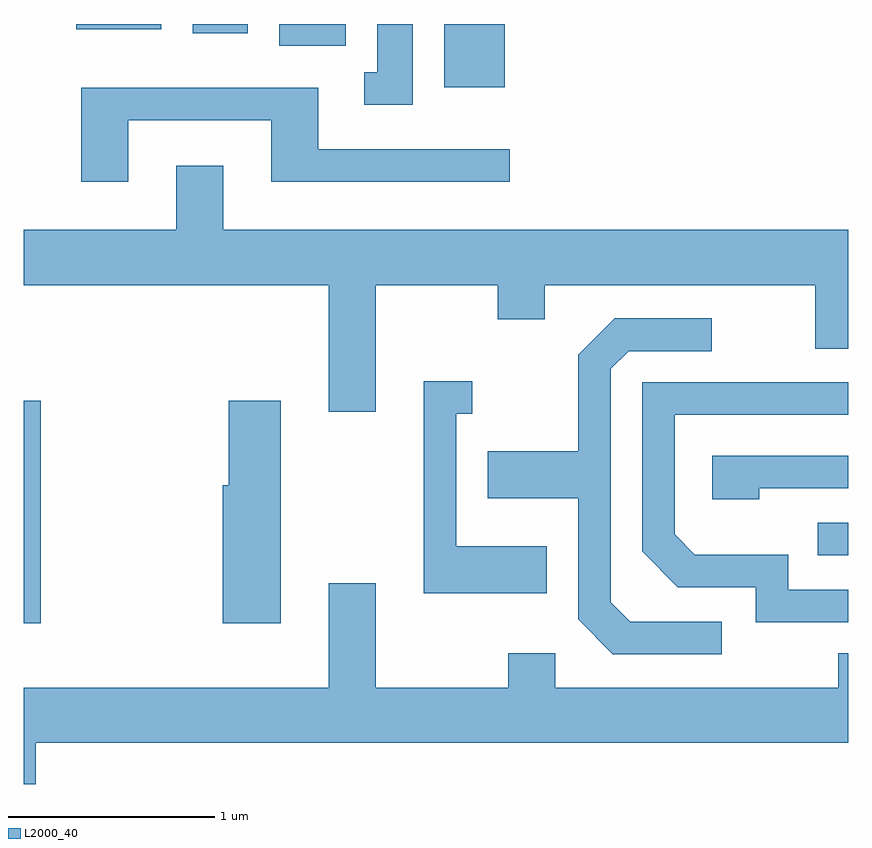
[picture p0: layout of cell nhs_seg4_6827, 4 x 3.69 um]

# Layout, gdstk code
import gdstk
lib = gdstk.Library(unit=1e-6, precision=1e-09)
def R(c, l, rs):  # rectangles x0, y0, x1, y1
    for r in rs: c.add(gdstk.rectangle(r[:2], r[2:], *l))
def P(c, l, *ps):  # polygons
    for p in ps: c.add(gdstk.Polygon(p, *l))
L2000_40 = (2000, 40)

nhs_seg4_6827 = lib.new_cell('nhs_seg4_6827')
R(nhs_seg4_6827, L2000_40, [(385.611,1313.076,385.694,1314.154), (389.463,1313.406,389.611,1313.564), (387.651,1315.676,387.944,1315.982), (386.851,1315.876,387.174,1315.982), (386.431,1315.936,386.699,1315.982), (385.866,1315.956,386.279,1315.982)])
P(nhs_seg4_6827, L2000_40, [(387.499,1315.982),(387.326,1315.982),(387.326,1315.749),(387.263,1315.749),(387.263,1315.591),(387.499,1315.591)],
  [(386.119,1315.516),(386.811,1315.516),(386.811,1315.216),(387.968,1315.216),(387.968,1315.374),(387.039,1315.374),(387.039,1315.674),(385.891,1315.674),(385.891,1315.216),(386.119,1315.216)],
  [(387.319,1314.716),(387.911,1314.716),(387.911,1314.551),(388.139,1314.551),(388.139,1314.716),(389.451,1314.716),(389.451,1314.406),(389.611,1314.406),(389.611,1314.984),(386.579,1314.984),(386.579,1315.294),(386.351,1315.294),(386.351,1314.984),(385.611,1314.984),(385.611,1314.716),(387.091,1314.716),(387.091,1314.101),(387.319,1314.101)],
  [(388.998,1313.084),(388.552,1313.084),(388.459,1313.177),(388.459,1314.309),(388.547,1314.396),(388.948,1314.396),(388.948,1314.554),(388.479,1314.554),(388.301,1314.377),(388.301,1313.909),(387.861,1313.909),(387.861,1313.681),(388.301,1313.681),(388.301,1313.094),(388.469,1312.926),(388.998,1312.926)],
  [(388.149,1313.449),(387.709,1313.449),(387.709,1314.091),(387.788,1314.091),(387.788,1314.249),(387.551,1314.249),(387.551,1313.221),(388.149,1313.221)],
  [(389.611,1313.239),(389.319,1313.239),(389.319,1313.409),(388.867,1313.409),(388.769,1313.507),(388.769,1314.086),(389.611,1314.086),(389.611,1314.244),(388.611,1314.244),(388.611,1313.424),(388.784,1313.251),(389.161,1313.251),(389.161,1313.081),(389.611,1313.081)],
  [(386.859,1314.154),(386.606,1314.154),(386.606,1313.744),(386.576,1313.744),(386.576,1313.076),(386.859,1313.076)],
  [(389.179,1313.731),(389.611,1313.731),(389.611,1313.889),(388.951,1313.889),(388.951,1313.676),(389.179,1313.676)],
  [(385.669,1312.496),(389.611,1312.496),(389.611,1312.929),(389.561,1312.929),(389.561,1312.764),(388.189,1312.764),(388.189,1312.929),(387.961,1312.929),(387.961,1312.764),(387.319,1312.764),(387.319,1313.269),(387.091,1313.269),(387.091,1312.764),(385.611,1312.764),(385.611,1312.296),(385.669,1312.296)])

lib.write_gds('nhs_seg4_6827.gds')
